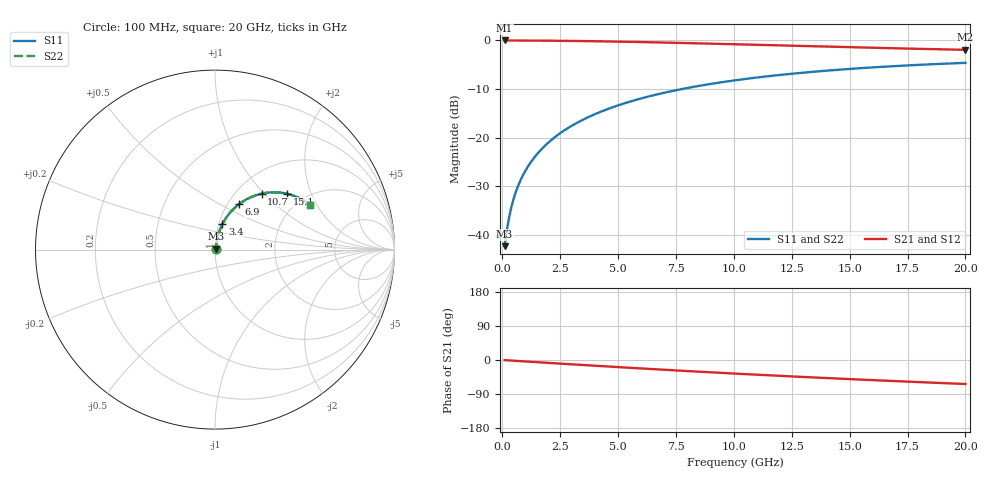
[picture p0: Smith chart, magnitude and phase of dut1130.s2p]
! Touchstone file exported from HFSS 2026.1.0
!  File:  C:/ffzhzh/LocalFiles/Ansys_Project_Files/temp_train_BSMRDL_1130_1783175282_18472.aedt
!  Generated:  10:29:26 PM Jul  4, 2026
!  Design:  BSMRDL
!  Project:  temp_train_BSMRDL_1130_1783175282_18472
! Variables:
!  h_bsmrdl = 3.42um
!  h_ox = 20um
!  h_rdl = 5um
!  h_sub = 80um
!  h_tmrdl = 5um
!  h_tsv = 80um
!  h_via = 3um
!  l_bsmrdl = 967.96um
!  l_sub = 1367.96um
!  l_tmrdl = 200um
!  m_sub = 200um
!  pitch = 50.97um
!  r_tsv = 6um
!  s_tmrdl = 10um
!  w_bsmrdl = 16.88um
!  w_sub = 500um
!  w_tmrdl = 12um
!  x_tsv_center1 = 206um
!  x_tsv_center2 = 1190.84um
!  x_tsv_center3 = 1402.84um
!  x_tsv_center4 = 2387.68um
!  x_tsv_center5 = 2599.68um
!  x_tsv_center6 = 3584.52um
# GHz S MA R 50.000000
! Terminal data exported
! Port[1] = BSM_RDL1_1_T1
! Port[2] = BSM_RDL1_1_T2
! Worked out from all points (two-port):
!   200 points, 100 MHz to 20 GHz, reference 50 ohm
!   highest |S21| = -0.05 dB at 100 MHz (marker M1); lowest = -2.0 dB at 20 GHz (marker M2)
!   |S21| within 3 dB of the highest: start of sweep to end of sweep
!   lowest |S11| = -42.3 dB at 100 MHz (marker M3), VSWR 1.02, Z = 50.6 + j0.477 ohm
!   |S11| at or under -10 dB: start of sweep to 7.796 GHz
!   |S22| runs from -42.3 to -4.7 dB; largest |S21 - S12| = 2e-15
!   S11 on the Smith chart (normalised r, x): 100 MHz: 1.01, +0.01; 3.4 GHz: 1.04, +0.30; 6.9 GHz: 1.13, +0.62; 10.7 GHz: 1.30, +0.97; 15.1 GHz: 1.64, +1.37; 20 GHz: 2.31, +1.76
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0.1  0.007647 38.0  0.994 -0.4  0.994 -0.4  0.007647 38.0
! Gamma 0 0 0 0
! Port Impedance 50 0 50 0
0.2  0.01126 56.1  0.9938 -0.8  0.9938 -0.8  0.01126 56.1
0.3  0.0154 64.5  0.9936 -1.2  0.9936 -1.2  0.0154 64.5
0.4  0.01966 69.0  0.9933 -1.6  0.9933 -1.6  0.01966 69.0
0.5  0.02396 71.8  0.993 -2.0  0.993 -2.0  0.02396 71.8
0.6  0.02828 73.6  0.9928 -2.3  0.9928 -2.3  0.02828 73.6
0.8  0.03694 75.9  0.9923 -3.1  0.9923 -3.1  0.03694 75.9
1.1  0.04999 77.4  0.9915 -4.2  0.9915 -4.2  0.04999 77.4
1.5  0.06743 77.8  0.9902 -5.8  0.9902 -5.8  0.06743 77.8
2  0.08918 77.3  0.9883 -7.7  0.9883 -7.7  0.08918 77.3
2.6  0.115 76.0  0.9853 -9.9  0.9853 -9.9  0.115 76.0
3.4  0.1489 73.7  0.9802 -12.9  0.9802 -12.9  0.1489 73.8
3.5  0.1531 73.4  0.9795 -13.3  0.9795 -13.3  0.1531 73.4
5  0.2139 68.6  0.967 -18.8  0.967 -18.8  0.2139 68.6
6.8  0.2816 62.6  0.9482 -25.1  0.9482 -25.1  0.2816 62.6
6.9  0.2852 62.2  0.9471 -25.5  0.9471 -25.5  0.2852 62.2
10.1  0.3885 52.0  0.9081 -36.0  0.9081 -36.0  0.3885 52.0
10.7  0.4055 50.2  0.9004 -37.9  0.9004 -37.9  0.4055 50.2
13.4  0.4732 42.3  0.8665 -46.0  0.8665 -46.0  0.4732 42.3
15.1  0.5088 37.6  0.8461 -50.7  0.8461 -50.7  0.5088 37.7
16.7  0.5378 33.5  0.8283 -55.0  0.8283 -55.0  0.5378 33.5
20  0.585 25.3  0.7963 -63.3  0.7963 -63.3  0.5851 25.3
